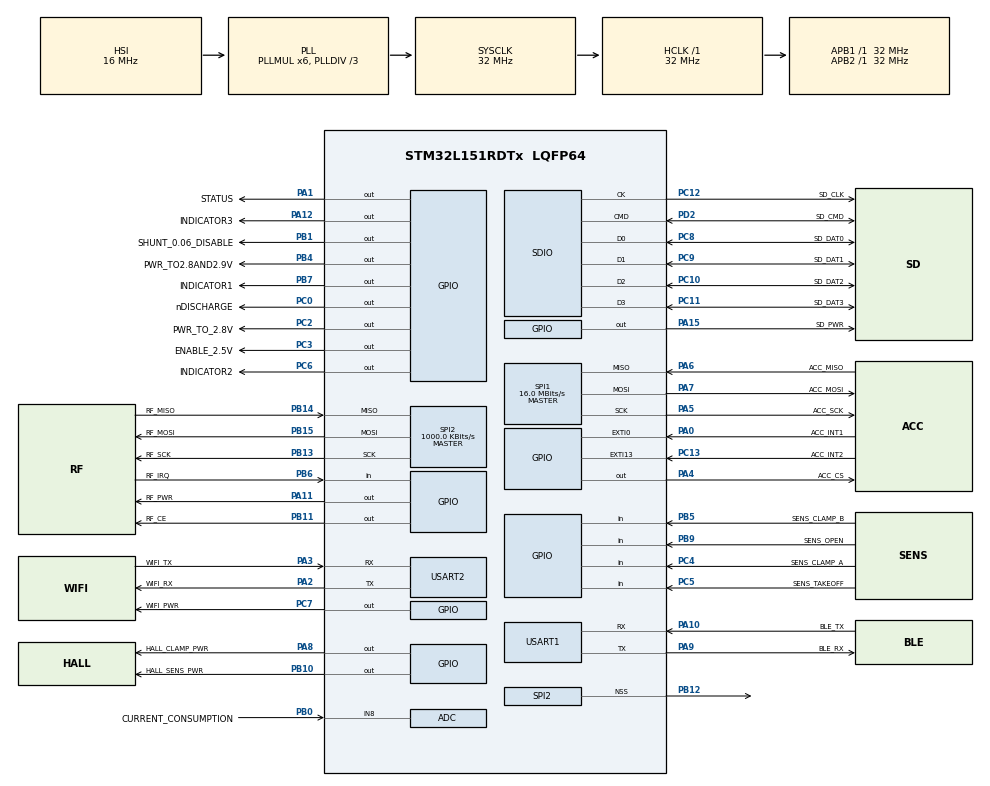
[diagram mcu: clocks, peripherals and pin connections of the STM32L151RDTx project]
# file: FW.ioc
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ADC.Channel-44\#ChannelRegularConversion=ADC_CHANNEL_TEMPSENSOR
ADC.ChannelsBank=ADC_CHANNELS_BANK_A
ADC.ClockPrescaler=ADC_CLOCK_ASYNC_DIV1
ADC.ContinuousConvMode=DISABLE
ADC.DMAContinuousRequests=DISABLE
ADC.DataAlign=ADC_DATAALIGN_RIGHT
ADC.DiscontinuousConvMode=DISABLE
ADC.EOCSelection=EOC_SEQ_CONV
ADC.EnableAnalogWatchDog=false
ADC.ExternalTrigConvEdge=ADC_EXTERNALTRIGCONVEDGE_NONE
ADC.InjNumberOfConversion=0
ADC.LowPowerAutoPowerOff=ADC_AUTOPOWEROFF_DISABLE
ADC.LowPowerAutoWait=ADC_AUTOWAIT_DISABLE
ADC.NbrOfConversion=1
ADC.NbrOfConversionFlag=1
ADC.Rank-44\#ChannelRegularConversion=1
ADC.Resolution=ADC_RESOLUTION12b
ADC.SamplingTime-44\#ChannelRegularConversion=ADC_SAMPLETIME_4CYCLES
ADC.ScanConvMode=ADC_SCAN_DISABLE
Mcu.Family=STM32L1
Mcu.Name=STM32L151RDTx
Mcu.Package=LQFP64
NVIC.ADC1_IRQn=true\:0\:0\:false
NVIC.PriorityGroup=NVIC_PRIORITYGROUP_4
NVIC.RTC_WKUP_IRQn=true\:1\:0\:true
NVIC.SDIO_IRQn=true\:0\:0\:false
NVIC.SPI1_IRQn=true\:0\:0\:false
NVIC.SPI2_IRQn=true\:0\:0\:false
NVIC.USART1_IRQn=true\:0\:0\:false
NVIC.USART2_IRQn=true\:0\:0\:false
PA0-WKUP1.GPIO_Label=ACC_INT1
PA0-WKUP1.GPIO_ModeDefaultEXTI=GPIO_MODE_IT_RISING_FALLING
PA0-WKUP1.Signal=GPXTI0
PA1.GPIO_Label=STATUS
PA1.GPIO_ModeDefaultOutputPP=GPIO_MODE_OUTPUT_PP
PA1.GPIO_Speed=GPIO_SPEED_VERY_LOW
PA1.Signal=GPIO_Output
PA10.GPIO_Label=BLE_TX
PA10.Mode=Asynchronous
PA10.Signal=USART1_RX
PA11.GPIO_Label=RF_PWR
PA11.GPIO_PuPd=GPIO_PULLUP
PA11.PinState=GPIO_PIN_SET
PA11.Signal=GPIO_Output
PA12.GPIO_Label=INDICATOR3
PA12.GPIO_ModeDefaultOutputPP=GPIO_MODE_OUTPUT_PP
PA12.Signal=GPIO_Output
PA13.Mode=Trace-Asynchronous_SW
PA13.Signal=SYS_JTMS-SWDIO
PA14.Mode=Trace-Asynchronous_SW
PA14.Signal=SYS_JTCK-SWCLK
PA15.GPIO_Label=SD_PWR
PA15.GPIO_PuPd=GPIO_PULLUP
PA15.PinState=GPIO_PIN_SET
PA15.Signal=GPIO_Output
PA2.GPIO_Label=WIFI_RX
PA2.Mode=Asynchronous
PA2.Signal=USART2_TX
PA3.GPIO_Label=WIFI_TX
PA3.Mode=Asynchronous
PA3.Signal=USART2_RX
PA4.GPIO_Label=ACC_CS
PA4.Signal=GPIO_Output
PA5.GPIO_Label=ACC_SCK
PA5.Mode=Full_Duplex_Master
PA5.Signal=SPI1_SCK
PA6.GPIO_Label=ACC_MISO
PA6.Mode=Full_Duplex_Master
PA6.Signal=SPI1_MISO
PA7.GPIO_Label=ACC_MOSI
PA7.Mode=Full_Duplex_Master
PA7.Signal=SPI1_MOSI
PA8.GPIO_Label=HALL_CLAMP_PWR
PA8.GPIO_ModeDefaultOutputPP=GPIO_MODE_OUTPUT_PP
PA8.GPIO_PuPd=GPIO_NOPULL
PA8.Signal=GPIO_Output
PA9.GPIO_Label=BLE_RX
PA9.Mode=Asynchronous
PA9.Signal=USART1_TX
PB0.GPIO_Label=CURRENT_CONSUMPTION
PB0.Mode=IN8
PB0.Signal=ADC_IN8
PB1.GPIO_Label=SHUNT_0.06_DISABLE
PB1.GPIO_PuPd=GPIO_PULLDOWN
PB1.Signal=GPIO_Output
PB10.GPIO_Label=HALL_SENS_PWR
PB10.GPIO_PuPd=GPIO_PULLUP
PB10.Signal=GPIO_Output
PB11.GPIO_Label=RF_CE
PB11.GPIO_PuPd=GPIO_PULLDOWN
PB11.Signal=GPIO_Output
PB12.GPIO_PuPd=GPIO_PULLUP
PB12.Mode=NSS_Signal_Hard_Output
PB12.Signal=SPI2_NSS
PB13.GPIO_Label=RF_SCK
PB13.Mode=Full_Duplex_Master
PB13.Signal=SPI2_SCK
PB14.GPIO_Label=RF_MISO
PB14.GPIO_PuPd=GPIO_PULLDOWN
PB14.Mode=Full_Duplex_Master
PB14.Signal=SPI2_MISO
PB15.GPIO_Label=RF_MOSI
PB15.Mode=Full_Duplex_Master
PB15.Signal=SPI2_MOSI
PB3.Mode=Trace-Asynchronous_SW
PB3.Signal=SYS_JTDO-TRACESWO
PB4.GPIO_Label=PWR_TO2.8AND2.9V
PB4.Signal=GPIO_Output
PB5.GPIO_Label=SENS_CLAMP_B
PB5.GPIO_PuPd=GPIO_PULLUP
PB5.Signal=GPIO_Input
PB6.GPIO_Label=RF_IRQ
PB6.GPIO_PuPd=GPIO_PULLUP
PB6.Signal=GPIO_Input
PB7.GPIO_Label=INDICATOR1
PB7.Signal=GPIO_Output
PB9.GPIO_Label=SENS_OPEN
PB9.GPIO_PuPd=GPIO_PULLUP
PB9.Signal=GPIO_Input
PC0.GPIO_Label=nDISCHARGE
PC0.GPIO_PuPd=GPIO_PULLUP
PC0.PinState=GPIO_PIN_SET
PC0.Signal=GPIO_Output
PC10.GPIO_Label=SD_DAT2
PC10.GPIO_PuPd=GPIO_PULLUP
PC10.Mode=SD_4_bits_Wide_bus
PC10.Signal=SDIO_D2
PC11.GPIO_Label=SD_DAT3
PC11.GPIO_PuPd=GPIO_NOPULL
PC11.Mode=SD_4_bits_Wide_bus
PC11.Signal=SDIO_D3
PC12.GPIO_Label=SD_CLK
PC12.Mode=SD_4_bits_Wide_bus
PC12.Signal=SDIO_CK
PC13-WKUP2.GPIO_Label=ACC_INT2
PC13-WKUP2.GPIO_ModeDefaultEXTI=GPIO_MODE_IT_RISING_FALLING
PC13-WKUP2.Signal=GPXTI13
PC14-OSC32_IN.Mode=LSE-External-Oscillator
PC14-OSC32_IN.Signal=RCC_OSC32_IN
PC15-OSC32_OUT.Mode=LSE-External-Oscillator
PC15-OSC32_OUT.Signal=RCC_OSC32_OUT
PC2.GPIO_Label=PWR_TO_2.8V
PC2.Signal=GPIO_Output
PC3.GPIO_Label=ENABLE_2.5V
PC3.Signal=GPIO_Output
PC4.GPIO_Label=SENS_CLAMP_A
PC4.GPIO_PuPd=GPIO_PULLUP
PC4.Signal=GPIO_Input
PC5.GPIO_Label=SENS_TAKEOFF
PC5.GPIO_PuPd=GPIO_PULLUP
PC5.Signal=GPIO_Input
PC6.GPIO_Label=INDICATOR2
PC6.Signal=GPIO_Output
PC7.GPIO_Label=WIFI_PWR
PC7.PinState=GPIO_PIN_SET
PC7.Signal=GPIO_Output
PC8.GPIO_Label=SD_DAT0
PC8.GPIO_PuPd=GPIO_PULLUP
PC8.Mode=SD_4_bits_Wide_bus
PC8.Signal=SDIO_D0
PC9.GPIO_Label=SD_DAT1
PC9.GPIO_PuPd=GPIO_PULLUP
PC9.Mode=SD_4_bits_Wide_bus
PC9.Signal=SDIO_D1
PD2.GPIO_Label=SD_CMD
PD2.GPIO_PuPd=GPIO_PULLUP
PD2.Mode=SD_4_bits_Wide_bus
PD2.Signal=SDIO_CMD
ProjectManager.HeapSize=0x800
ProjectManager.StackSize=0x400
ProjectManager.TargetToolchain=MDK-ARM V5
RCC.AHBFreq_Value=32000000
RCC.APB1Freq_Value=32000000
RCC.APB1TimFreq_Value=32000000
RCC.APB2Freq_Value=32000000
RCC.APB2TimFreq_Value=32000000
RCC.HCLKFreq_Value=32000000
RCC.HSE_VALUE=24000000
RCC.HSI_VALUE=16000000
RCC.MSIClockRange=RCC_MSIRANGE_0
RCC.MSI_VALUE=65536
RCC.PLLDIV=RCC_PLL_DIV3
RCC.PLLMUL=RCC_PLL_MUL6
RCC.RTCClockSelection=RCC_RTCCLKSOURCE_LSE
RCC.RTCClockSelectionVirtual=RCC_RTCCLKSOURCE_LSE
RCC.SYSCLKFreq_VALUE=32000000
RCC.SYSCLKSource=RCC_SYSCLKSOURCE_PLLCLK
RCC.USBOutput=48000000
RCC.VCOOutputFreq_Value=96000000
RCC.VDD_VALUE=2.7
RTC.Date=12
RTC.Month=RTC_MONTH_MARCH
RTC.WakeUpClock=RTC_WAKEUPCLOCK_CK_SPRE_16BITS
RTC.WakeUpCounter=1
RTC.WeekDay=RTC_WEEKDAY_SUNDAY
RTC.Year=16
SDIO.BusWide=SDIO_BUS_WIDE_1B
SDIO.ClockDiv=20
SDIO.WideMode=SDIO_BUS_WIDE_4B
SPI1.BaudRatePrescaler=SPI_BAUDRATEPRESCALER_2
SPI1.CalculateBaudRate=16.0 MBits/s
SPI1.Mode=SPI_MODE_MASTER
SPI2.BaudRatePrescaler=SPI_BAUDRATEPRESCALER_32
SPI2.CalculateBaudRate=1000.0 KBits/s
SPI2.Mode=SPI_MODE_MASTER
SPI2.VirtualNSS=VM_NSSHARD
VP_ADC_Channel8SpeedLow.Mode=Channel8SpeedLow
VP_ADC_TempSens_Input.Mode=IN-TempSens
VP_FATFS_VS_SDIO.Mode=SDIO
VP_RTC_VS_RTC_WakeUp_intern.Mode=WakeUp
board=FW

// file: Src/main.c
/**
  ******************************************************************************
  * File Name          : main.c
  * Description        : Main program body
  ******************************************************************************
  *
  * COPYRIGHT(c) 2016 STMicroelectronics
  *
  * Redistribution and use in source and binary forms, with or without modification,
  * are permitted provided that the following conditions are met:
  *   1. Redistributions of source code must retain the above copyright notice,
  *      this list of conditions and the following disclaimer.
  *   2. Redistributions in binary form must reproduce the above copyright notice,
  *      this list of conditions and the following disclaimer in the documentation
  *      and/or other materials provided with the distribution.
  *   3. Neither the name of STMicroelectronics nor the names of its contributors
  *      may be used to endorse or promote products derived from this software
  *      without specific prior written permission.
  *
  * THIS SOFTWARE IS PROVIDED BY THE COPYRIGHT HOLDERS AND CONTRIBUTORS "AS IS"
  * AND ANY EXPRESS OR IMPLIED WARRANTIES, INCLUDING, BUT NOT LIMITED TO, THE
  * IMPLIED WARRANTIES OF MERCHANTABILITY AND FITNESS FOR A PARTICULAR PURPOSE ARE
  * DISCLAIMED. IN NO EVENT SHALL THE COPYRIGHT HOLDER OR CONTRIBUTORS BE LIABLE
  * FOR ANY DIRECT, INDIRECT, INCIDENTAL, SPECIAL, EXEMPLARY, OR CONSEQUENTIAL
  * DAMAGES (INCLUDING, BUT NOT LIMITED TO, PROCUREMENT OF SUBSTITUTE GOODS OR
  * SERVICES; LOSS OF USE, DATA, OR PROFITS; OR BUSINESS INTERRUPTION) HOWEVER
  * CAUSED AND ON ANY THEORY OF LIABILITY, WHETHER IN CONTRACT, STRICT LIABILITY,
  * OR TORT (INCLUDING NEGLIGENCE OR OTHERWISE) ARISING IN ANY WAY OUT OF THE USE
  * OF THIS SOFTWARE, EVEN IF ADVISED OF THE POSSIBILITY OF SUCH DAMAGE.
  *
  ******************************************************************************
  */
#include "stm32l1xx_hal.h"
#include "fatfs.h"

/* USER CODE BEGIN Includes */
#include <stdio.h>
#include "lis3dh_driver.h"
#include "power.h"
#include "defines.h"

/* USER CODE END Includes */

ADC_HandleTypeDef hadc;

RTC_HandleTypeDef hrtc;

SD_HandleTypeDef hsd;
HAL_SD_CardInfoTypedef SDCardInfo;

SPI_HandleTypeDef hspi1;
SPI_HandleTypeDef hspi2;

UART_HandleTypeDef huart1;
UART_HandleTypeDef huart2;

/* USER CODE BEGIN PV */
/* Private variables ---------------------------------------------------------*/
FATFS SDFatFs;  /* File system object for SD card logical drive */
FIL MyFile;     /* File object */
char SDPath[4]; /* SD card logical drive path */

const char wtext[] = "Hello World!";

uint8_t resp;

/* Size of buffer */
#define BUFFERSIZE                       (COUNTOF(aTxBuffer) - 1)

/* Exported macro ------------------------------------------------------------*/
#define COUNTOF(__BUFFER__)   (sizeof(__BUFFER__) / sizeof(*(__BUFFER__)))

/* Exported functions ------------------------------------------------------- */

/* USER CODE END PV */

void SystemClock_Config(void);
static void MX_GPIO_Init(void);
static void MX_ADC_Init(void);
static void MX_SDIO_SD_Init(void);
static void MX_SPI1_Init(void);
static void MX_SPI2_Init(void);
static void MX_USART1_UART_Init(void);
static void MX_USART2_UART_Init(void);
static void MX_RTC_Init(void);

/* USER CODE BEGIN PFP */
/* Private function prototypes -----------------------------------------------*/

/*int fputc(int ch, FILE *f){
  HAL_UART_Transmit(&huart1, (uint8_t *)&ch, 1, 0xFFFF);

  return ch;
}*/

// FOR DEBUG send to  KEIL
#define ITM_Port8(n)    (*((volatile unsigned char *)(0xE0000000+4*n)))
#define ITM_Port16(n)   (*((volatile unsigned short*)(0xE0000000+4*n)))
#define ITM_Port32(n)   (*((volatile unsigned long *)(0xE0000000+4*n)))
#define DEMCR           (*((volatile unsigned long *)(0xE000EDFC)))
#define TRCENA          0x01000000

struct __FILE { int handle; /* Add whatever you need here */ };
FILE __stdout;
FILE __stdin;

int fputc(int ch, FILE *f) {
   if (DEMCR & TRCENA) {

while (ITM_Port32(0) == 0);
    ITM_Port8(0) = ch;
  }
  return(ch);
}

/* USER CODE END PFP */

int main(void)
{

  /* USER CODE BEGIN 1 */

//  AxesRaw_t data;

	FRESULT res; /* FatFs function common result code */
	uint32_t byteswritten, bytesread; /* File write/read counts */
	char rtext[256]; /* File read buffer */

	//	HALL_SENS_PWR_ON;
	//	CLAMP_SENS_PWR_ON;

	//	1. SPI1 is for ACC

  /* USER CODE END 1 */

  /* MCU Configuration----------------------------------------------------------*/

  /* Reset of all peripherals, Initializes the Flash interface and the Systick. */
  HAL_Init();

  /* Configure the system clock */
  SystemClock_Config();

  /* Initialize all configured peripherals */
  MX_GPIO_Init();
  MX_ADC_Init();
  MX_SDIO_SD_Init();
  MX_SPI1_Init();
  MX_SPI2_Init();
  MX_USART1_UART_Init();
  MX_USART2_UART_Init();
  MX_FATFS_Init();
  MX_RTC_Init();

  /* USER CODE BEGIN 2 */
	HAL_RTCEx_DeactivateWakeUpTimer(&hrtc);
	HAL_RTCEx_SetWakeUpTimer_IT(&hrtc, 1, RTC_WAKEUPCLOCK_CK_SPRE_16BITS);

  EXTI0_IRQHandler_Config();
//	EXTI13_IRQHandler_Config();

//	HAL_DBGMCU_EnableDBGStopMode();

	//HALL_SENS_PWR_ON;
	//CLAMP_SENS_PWR_OFF;

	// init gpio before!
	UC_2_8V;

	printf("FW start\r\n");

	LIS3DH_PreInit();
	LIS3DH_SetMode(LIS3DH_NORMAL); 				//reg1
	LIS3DH_SetODR(LIS3DH_ODR_400Hz); 			//reg1
	LIS3DH_SetAxis(LIS3DH_X_ENABLE | LIS3DH_Y_ENABLE | LIS3DH_Z_ENABLE ); //reg1

	//Direct IRQ from watemark and overrun to 1st pin. reg3
	LIS3DH_SetInt1Pin(LIS3DH_CLICK_ON_PIN_INT1_DISABLE 		| 	LIS3DH_I1_INT1_ON_PIN_INT1_DISABLE 	| 	LIS3DH_I1_INT2_ON_PIN_INT1_DISABLE 	|
										LIS3DH_I1_DRDY1_ON_INT1_DISABLE			| 	LIS3DH_I1_DRDY2_ON_INT1_DISABLE 		| 	LIS3DH_WTM_ON_INT1_ENABLE 					| LIS3DH_INT1_OVERRUN_DISABLE);

	//REG4
	LIS3DH_SetBDU(MEMS_ENABLE);
  LIS3DH_SetFullScale(LIS3DH_FULLSCALE_2);  //reg4

	//REG5
  LIS3DH_FIFOModeEnable(LIS3DH_FIFO_STREAM_MODE);	//Enable store into FIFO reg5
	LIS3DH_Int1LatchEnable(MEMS_ENABLE);

	//LIS3DH_FIFO_CTRL_REG
	LIS3DH_SetTriggerInt(LIS3DH_TRIG_INT1);
	LIS3DH_SetWaterMark(15); 									// watermark for irq generation from fifo  LIS3DH_FIFO_CTRL_REG

	LIS3DH_ReadFIFO();												// clean FIFO and reset IRQ

while (1) {
	//LIS3DH_GetInt1Src(&resp);
	//printf("INT1SRC %i ", resp);

	/*LIS3DH_GetFifoSourceBit(LIS3DH_FIFO_SRC_WTM, &resp);
	printf("WTM %i ", resp);

	LIS3DH_GetReg3Bit(LIS3DH_I1_WTM, &resp);
	printf("WMBIT %i ", resp);

	LIS3DH_GetFifoSourceFSS(&resp);
	printf("FIFO %i\r\n", resp);

	//LIS3DH_GetIntCounter(&resp);
	//printf("Interrupts counter=%i\r\n", resp);
	if (resp > 26) {

		//rep:
			//LIS3DH_GetFifoSourceFSS(&resp);
			//printf("> %i recs in FIFO (while)\r\n", resp);
			//HAL_Delay(15);
		//LIS3DH_GetInt1Src(&resp);
/*		rep:
		if(LIS3DH_GetAccAxesRaw(&data)==1){
				LIS3DH_GetFifoSourceBit(LIS3DH_FIFO_SRC_WTM, &resp);
				//printf("X=%6d Y=%6d Z=%6d \r\n", data.AXIS_X, data.AXIS_Y, data.AXIS_Z);
			printf("  READ WTM%i\r\n", resp);
		} else {
				printf("ER\r\n");
		}

		LIS3DH_GetFifoSourceFSS(&resp);
		if (resp > 0) goto rep;

		LIS3DH_ResetInt1Latch();

		LIS3DH_FIFOModeEnable(LIS3DH_FIFO_STREAM_MODE);*/

			LIS3DH_ReadFIFO();
	HAL_Delay(2000);
}
//ENABLE ALL IRQs
//LIS3DH_SetInt1Pin(LIS3DH_CLICK_ON_PIN_INT1_DISABLE | LIS3DH_I1_INT1_ON_PIN_INT1_ENABLE | LIS3DH_I1_INT2_ON_PIN_INT1_ENABLE | LIS3DH_I1_DRDY1_ON_INT1_ENABLE | LIS3DH_I1_DRDY2_ON_INT1_ENABLE | LIS3DH_WTM_ON_INT1_ENABLE | LIS3DH_INT1_OVERRUN_ENABLE);
//LIS3DH_SetInt2Pin(LIS3DH_CLICK_ON_PIN_INT2_DISABLE | LIS3DH_I2_INT1_ON_PIN_INT2_ENABLE | LIS3DH_I2_INT2_ON_PIN_INT2_ENABLE | LIS3DH_I2_BOOT_ON_INT2_ENABLE | LIS3DH_INT_ACTIVE_HIGH);
//	HAL_Delay(2000);

  /* USER CODE END 2 */

  /* Infinite loop */
  /* USER CODE BEGIN WHILE */
  while (1)  {
  /* USER CODE END WHILE */

  /* USER CODE BEGIN 3 */

//		if(LIS3DH_GetAccAxesRaw(&data)==1){
//			printf("X=%6d Y=%6d Z=%6d \r\n", data.AXIS_X, data.AXIS_Y, data.AXIS_Z);
//		} else {
//			printf("ER\r\n");
//		}
		HAL_Delay(50);

		//	lowest_power();		//go to stop. Wakeup on RTC wakeup or 1st or 2d PIN wakeup
  }

//SDIO FAT PART.

	//ENABLE_2_5V;	//DC-DC enable
	SD_PWR_ON;		//Power to SD card
	//INIT SD and CARD after because no power to sd

	HAL_Delay(50);
  MX_SDIO_SD_Init();
  MX_FATFS_Init();

/*##-1- FatFS: Link the SD disk I/O driver ##########*/

 if(FATFS_LinkDriver(&SD_Driver, SDPath) == 0){
		/* success: set the orange LED on */
		 //HAL_GPIO_WritePin(GPIOG, GPIO_PIN_7, GPIO_PIN_RESET);
		/*##-2- Register the file system object to the FatFs module

		NB! mout right now!
	 ###*/
		res = f_mount(&SDFatFs, (TCHAR const*)SD_Path, 1) ;

		 if(res != FR_OK){
				 /* FatFs Initialization Error : set the red LED on */
				 printf ("Problem fmount\r\n");
				 while(1);
		 } else {
				/*##-3- Create a FAT file system (format) on the logical drive#*/
				 /* WARNING: Formatting the uSD card will delete all content on the device */
					res = f_mkfs((TCHAR const*)SD_Path, 0, 0);
					if(res != FR_OK){
						 /* FatFs Format Error : set the red LED on */
							printf ("Problem f_mkfs\r\n");
						 while(1);
					} else {
						/*##-4- Create & Open a new text file object with write access#*/
						 if(f_open(&MyFile, "Hello.txt", FA_CREATE_ALWAYS | FA_WRITE) != FR_OK){
								 /* 'Hello.txt' file Open for write Error : set the red LED on */
								 printf ("Problem f_open\r\n");
								 while(1);
						 } else {
								 /*##-5- Write data to the text file ####################*/
								 res = f_write(&MyFile, wtext, sizeof(wtext), (void*)&byteswritten);

								 if((byteswritten == 0) || (res != FR_OK)){
										 /* 'Hello.txt' file Write or EOF Error : set the red LED on */
										 printf ("Problem f_write\r\n");
										 while(1);
								 } else {

										 /*##-6- Successful open/write : set the blue LED on */
										// HAL_GPIO_WritePin(GPIOG, GPIO_PIN_12, GPIO_PIN_RESET);
										 f_close(&MyFile);

										 /*##-7- Open the text file object with read access #*/
										 if(f_open(&MyFile, "Hello.txt", FA_READ) != FR_OK){
												 /* 'Hello.txt' file Open for read Error : set the red LED on */
												//HAL_GPIO_WritePin(GPIOG, GPIO_PIN_10, GPIO_PIN_RESET);
													printf ("Problem f_open\r\n");
												 while(1);
										 } else {
												 /*##-8- Read data from the text file #########*/
												 res = f_read(&MyFile, rtext, sizeof(wtext), &bytesread);
//												 if((strcmp(rtext,wtext)!=0)|| (res != FR_OK)){
//													 /* 'Hello.txt' file Read or EOF Error : set the red LED on */
//													 				 printf ("Problem f_read\r\n");
//													 while(1);
//												 } else {
//													 printf ("FAT operation done OK!\r\n");
													 /* Successful read : set the green LED On */
													 //HAL_GPIO_WritePin(GPIOG, GPIO_PIN_6, GPIO_PIN_RESET);
													 /*##-9- Close the open text file ################*/
													 f_close(&MyFile);
												 }
										 }
								 }
						 }
				 }
		 }

 /*##-10- Unlink the micro SD disk I/O driver #########*/
 FATFS_UnLinkDriver(SD_Path);

  /* USER CODE END 3 */

}

/** System Clock Configuration
*/
void SystemClock_Config(void)
{

  RCC_OscInitTypeDef RCC_OscInitStruct;
  RCC_ClkInitTypeDef RCC_ClkInitStruct;
  RCC_PeriphCLKInitTypeDef PeriphClkInit;

  __PWR_CLK_ENABLE();

  __HAL_PWR_VOLTAGESCALING_CONFIG(PWR_REGULATOR_VOLTAGE_SCALE1);

  RCC_OscInitStruct.OscillatorType = RCC_OSCILLATORTYPE_HSI|RCC_OSCILLATORTYPE_LSE;
  RCC_OscInitStruct.LSEState = RCC_LSE_ON;
  RCC_OscInitStruct.HSIState = RCC_HSI_ON;
  RCC_OscInitStruct.HSICalibrationValue = 16;
  RCC_OscInitStruct.PLL.PLLState = RCC_PLL_ON;
  RCC_OscInitStruct.PLL.PLLSource = RCC_PLLSOURCE_HSI;
  RCC_OscInitStruct.PLL.PLLMUL = RCC_PLL_MUL6;
  RCC_OscInitStruct.PLL.PLLDIV = RCC_PLL_DIV3;
  HAL_RCC_OscConfig(&RCC_OscInitStruct);

  RCC_ClkInitStruct.ClockType = RCC_CLOCKTYPE_HCLK|RCC_CLOCKTYPE_SYSCLK
                              |RCC_CLOCKTYPE_PCLK1|RCC_CLOCKTYPE_PCLK2;
  RCC_ClkInitStruct.SYSCLKSource = RCC_SYSCLKSOURCE_PLLCLK;
  RCC_ClkInitStruct.AHBCLKDivider = RCC_SYSCLK_DIV1;
  RCC_ClkInitStruct.APB1CLKDivider = RCC_HCLK_DIV1;
  RCC_ClkInitStruct.APB2CLKDivider = RCC_HCLK_DIV1;
  HAL_RCC_ClockConfig(&RCC_ClkInitStruct, FLASH_LATENCY_1);

  PeriphClkInit.PeriphClockSelection = RCC_PERIPHCLK_RTC;
  PeriphClkInit.RTCClockSelection = RCC_RTCCLKSOURCE_LSE;
  HAL_RCCEx_PeriphCLKConfig(&PeriphClkInit);

  HAL_SYSTICK_Config(HAL_RCC_GetHCLKFreq()/1000);

  HAL_SYSTICK_CLKSourceConfig(SYSTICK_CLKSOURCE_HCLK);

  /* SysTick_IRQn interrupt configuration */
  HAL_NVIC_SetPriority(SysTick_IRQn, 0, 0);
}

/* ADC init function */
void MX_ADC_Init(void)
{

  ADC_ChannelConfTypeDef sConfig;

    /**Configure the global features of the ADC (Clock, Resolution, Data Alignment and number of conversion)
    */
  hadc.Instance = ADC1;
  hadc.Init.ClockPrescaler = ADC_CLOCK_ASYNC_DIV1;
  hadc.Init.Resolution = ADC_RESOLUTION12b;
  hadc.Init.DataAlign = ADC_DATAALIGN_RIGHT;
  hadc.Init.ScanConvMode = ADC_SCAN_DISABLE;
  hadc.Init.EOCSelection = EOC_SEQ_CONV;
  hadc.Init.LowPowerAutoWait = ADC_AUTOWAIT_DISABLE;
  hadc.Init.LowPowerAutoPowerOff = ADC_AUTOPOWEROFF_DISABLE;
  hadc.Init.ChannelsBank = ADC_CHANNELS_BANK_A;
  hadc.Init.ContinuousConvMode = DISABLE;
  hadc.Init.NbrOfConversion = 1;
  hadc.Init.DiscontinuousConvMode = DISABLE;
  hadc.Init.ExternalTrigConv = ADC_SOFTWARE_START;
  hadc.Init.ExternalTrigConvEdge = ADC_EXTERNALTRIGCONVEDGE_NONE;
  hadc.Init.DMAContinuousRequests = DISABLE;
  HAL_ADC_Init(&hadc);

    /**Configure the channel speed in Low mode
    */
  __HAL_ADC_CHANNEL_SPEED_SLOW(ADC_CHANNEL_8);

    /**Configure for the selected ADC regular channel its corresponding rank in the sequencer and its sample time.
    */
  sConfig.Channel = ADC_CHANNEL_TEMPSENSOR;
  sConfig.Rank = 1;
  sConfig.SamplingTime = ADC_SAMPLETIME_4CYCLES;
  HAL_ADC_ConfigChannel(&hadc, &sConfig);

}

/* RTC init function */
void MX_RTC_Init(void)
{

  RTC_TimeTypeDef sTime;
  RTC_DateTypeDef sDate;

    /**Initialize RTC and set the Time and Date
    */
  hrtc.Instance = RTC;
  hrtc.Init.HourFormat = RTC_HOURFORMAT_24;
  hrtc.Init.AsynchPrediv = 127;
  hrtc.Init.SynchPrediv = 255;
  hrtc.Init.OutPut = RTC_OUTPUT_DISABLE;
  hrtc.Init.OutPutPolarity = RTC_OUTPUT_POLARITY_HIGH;
  hrtc.Init.OutPutType = RTC_OUTPUT_TYPE_OPENDRAIN;
  HAL_RTC_Init(&hrtc);

  sTime.Hours = 0x0;
  sTime.Minutes = 0x0;
  sTime.Seconds = 0x0;
  sTime.DayLightSaving = RTC_DAYLIGHTSAVING_NONE;
  sTime.StoreOperation = RTC_STOREOPERATION_RESET;
  HAL_RTC_SetTime(&hrtc, &sTime, FORMAT_BCD);

  sDate.WeekDay = RTC_WEEKDAY_SUNDAY;
  sDate.Month = RTC_MONTH_MARCH;
  sDate.Date = 0x12;
  sDate.Year = 0x16;

  HAL_RTC_SetDate(&hrtc, &sDate, FORMAT_BCD);

    /**Enable the WakeUp
    */
  HAL_RTCEx_SetWakeUpTimer_IT(&hrtc, 1, RTC_WAKEUPCLOCK_CK_SPRE_16BITS);

}

/* SDIO init function */
void MX_SDIO_SD_Init(void)
{

  hsd.Instance = SDIO;
  hsd.Init.ClockEdge = SDIO_CLOCK_EDGE_RISING;
  hsd.Init.ClockBypass = SDIO_CLOCK_BYPASS_DISABLE;
  hsd.Init.ClockPowerSave = SDIO_CLOCK_POWER_SAVE_DISABLE;
  hsd.Init.BusWide = SDIO_BUS_WIDE_1B;
  hsd.Init.HardwareFlowControl = SDIO_HARDWARE_FLOW_CONTROL_DISABLE;
  hsd.Init.ClockDiv = 20;

}

/* SPI1 init function */
void MX_SPI1_Init(void)
{

  hspi1.Instance = SPI1;
  hspi1.Init.Mode = SPI_MODE_MASTER;
  hspi1.Init.Direction = SPI_DIRECTION_2LINES;
  hspi1.Init.DataSize = SPI_DATASIZE_8BIT;
  hspi1.Init.CLKPolarity = SPI_POLARITY_LOW;
  hspi1.Init.CLKPhase = SPI_PHASE_1EDGE;
  hspi1.Init.NSS = SPI_NSS_SOFT;
  hspi1.Init.BaudRatePrescaler = SPI_BAUDRATEPRESCALER_2;
  hspi1.Init.FirstBit = SPI_FIRSTBIT_MSB;
  hspi1.Init.TIMode = SPI_TIMODE_DISABLED;
  hspi1.Init.CRCCalculation = SPI_CRCCALCULATION_DISABLED;
  hspi1.Init.CRCPolynomial = 10;
  HAL_SPI_Init(&hspi1);

}

/* SPI2 init function */
void MX_SPI2_Init(void)
{

  hspi2.Instance = SPI2;
  hspi2.Init.Mode = SPI_MODE_MASTER;
  hspi2.Init.Direction = SPI_DIRECTION_2LINES;
  hspi2.Init.DataSize = SPI_DATASIZE_8BIT;
  hspi2.Init.CLKPolarity = SPI_POLARITY_LOW;
  hspi2.Init.CLKPhase = SPI_PHASE_1EDGE;
  hspi2.Init.NSS = SPI_NSS_HARD_OUTPUT;
  hspi2.Init.BaudRatePrescaler = SPI_BAUDRATEPRESCALER_32;
  hspi2.Init.FirstBit = SPI_FIRSTBIT_MSB;
  hspi2.Init.TIMode = SPI_TIMODE_DISABLED;
  hspi2.Init.CRCCalculation = SPI_CRCCALCULATION_DISABLED;
  hspi2.Init.CRCPolynomial = 10;
  HAL_SPI_Init(&hspi2);

}

/* USART1 init function */
void MX_USART1_UART_Init(void)
{

  huart1.Instance = USART1;
  huart1.Init.BaudRate = 115200;
  huart1.Init.WordLength = UART_WORDLENGTH_8B;
  huart1.Init.StopBits = UART_STOPBITS_1;
  huart1.Init.Parity = UART_PARITY_NONE;
  huart1.Init.Mode = UART_MODE_TX_RX;
  huart1.Init.HwFlowCtl = UART_HWCONTROL_NONE;
  huart1.Init.OverSampling = UART_OVERSAMPLING_16;
  HAL_UART_Init(&huart1);

}

/* USART2 init function */
void MX_USART2_UART_Init(void)
{

  huart2.Instance = USART2;
  huart2.Init.BaudRate = 115200;
  huart2.Init.WordLength = UART_WORDLENGTH_8B;
  huart2.Init.StopBits = UART_STOPBITS_1;
  huart2.Init.Parity = UART_PARITY_NONE;
  huart2.Init.Mode = UART_MODE_TX_RX;
  huart2.Init.HwFlowCtl = UART_HWCONTROL_NONE;
  huart2.Init.OverSampling = UART_OVERSAMPLING_16;
  HAL_UART_Init(&huart2);

}

/** Configure pins as
        * Analog
        * Input
        * Output
        * EVENT_OUT
        * EXTI
*/
void MX_GPIO_Init(void)
{

  GPIO_InitTypeDef GPIO_InitStruct;

  /* GPIO Ports Clock Enable */
  __GPIOC_CLK_ENABLE();
  __GPIOA_CLK_ENABLE();
  __GPIOB_CLK_ENABLE();
  __GPIOD_CLK_ENABLE();

  /*Configure GPIO pin : ACC_INT2_Pin */
  GPIO_InitStruct.Pin = ACC_INT2_Pin;
  GPIO_InitStruct.Mode = GPIO_MODE_IT_RISING_FALLING;
  GPIO_InitStruct.Pull = GPIO_NOPULL;
  HAL_GPIO_Init(ACC_INT2_GPIO_Port, &GPIO_InitStruct);

  /*Configure GPIO pin : nDISCHARGE_Pin */
  GPIO_InitStruct.Pin = nDISCHARGE_Pin;
  GPIO_InitStruct.Mode = GPIO_MODE_OUTPUT_PP;
  GPIO_InitStruct.Pull = GPIO_PULLUP;
  GPIO_InitStruct.Speed = GPIO_SPEED_VERY_LOW;
  HAL_GPIO_Init(nDISCHARGE_GPIO_Port, &GPIO_InitStruct);

  /*Configure GPIO pins : PWR_TO_2_8V_Pin ENABLE_2_5V_Pin INDICATOR2_Pin WIFI_PWR_Pin */
  GPIO_InitStruct.Pin = PWR_TO_2_8V_Pin|ENABLE_2_5V_Pin|INDICATOR2_Pin|WIFI_PWR_Pin;
  GPIO_InitStruct.Mode = GPIO_MODE_OUTPUT_PP;
  GPIO_InitStruct.Pull = GPIO_NOPULL;
  GPIO_InitStruct.Speed = GPIO_SPEED_VERY_LOW;
  HAL_GPIO_Init(GPIOC, &GPIO_InitStruct);

  /*Configure GPIO pin : ACC_INT1_Pin */
  GPIO_InitStruct.Pin = ACC_INT1_Pin;
  GPIO_InitStruct.Mode = GPIO_MODE_IT_RISING_FALLING;
  GPIO_InitStruct.Pull = GPIO_NOPULL;
  HAL_GPIO_Init(ACC_INT1_GPIO_Port, &GPIO_InitStruct);

  /*Configure GPIO pins : STATUS_Pin ACC_CS_Pin HALL_CLAMP_PWR_Pin INDICATOR3_Pin */
  GPIO_InitStruct.Pin = STATUS_Pin|ACC_CS_Pin|HALL_CLAMP_PWR_Pin|INDICATOR3_Pin;
  GPIO_InitStruct.Mode = GPIO_MODE_OUTPUT_PP;
  GPIO_InitStruct.Pull = GPIO_NOPULL;
  GPIO_InitStruct.Speed = GPIO_SPEED_VERY_LOW;
  HAL_GPIO_Init(GPIOA, &GPIO_InitStruct);

  /*Configure GPIO pins : SENS_CLAMP_A_Pin SENS_TAKEOFF_Pin */
  GPIO_InitStruct.Pin = SENS_CLAMP_A_Pin|SENS_TAKEOFF_Pin;
  GPIO_InitStruct.Mode = GPIO_MODE_INPUT;
  GPIO_InitStruct.Pull = GPIO_PULLUP;
  HAL_GPIO_Init(GPIOC, &GPIO_InitStruct);

  /*Configure GPIO pins : SHUNT_0_06_DISABLE_Pin RF_CE_Pin */
  GPIO_InitStruct.Pin = SHUNT_0_06_DISABLE_Pin|RF_CE_Pin;
  GPIO_InitStruct.Mode = GPIO_MODE_OUTPUT_PP;
  GPIO_InitStruct.Pull = GPIO_PULLDOWN;
  GPIO_InitStruct.Speed = GPIO_SPEED_VERY_LOW;
  HAL_GPIO_Init(GPIOB, &GPIO_InitStruct);

  /*Configure GPIO pin : HALL_SENS_PWR_Pin */
  GPIO_InitStruct.Pin = HALL_SENS_PWR_Pin;
  GPIO_InitStruct.Mode = GPIO_MODE_OUTPUT_PP;
  GPIO_InitStruct.Pull = GPIO_PULLUP;
  GPIO_InitStruct.Speed = GPIO_SPEED_VERY_LOW;
  HAL_GPIO_Init(HALL_SENS_PWR_GPIO_Port, &GPIO_InitStruct);

  /*Configure GPIO pins : RF_PWR_Pin SD_PWR_Pin */
  GPIO_InitStruct.Pin = RF_PWR_Pin|SD_PWR_Pin;
  GPIO_InitStruct.Mode = GPIO_MODE_OUTPUT_PP;
  GPIO_InitStruct.Pull = GPIO_PULLUP;
  GPIO_InitStruct.Speed = GPIO_SPEED_VERY_LOW;
  HAL_GPIO_Init(GPIOA, &GPIO_InitStruct);

  /*Configure GPIO pins : PWR_TO2_8AND2_9V_Pin INDICATOR1_Pin */
  GPIO_InitStruct.Pin = PWR_TO2_8AND2_9V_Pin|INDICATOR1_Pin;
  GPIO_InitStruct.Mode = GPIO_MODE_OUTPUT_PP;
  GPIO_InitStruct.Pull = GPIO_NOPULL;
  GPIO_InitStruct.Speed = GPIO_SPEED_VERY_LOW;
  HAL_GPIO_Init(GPIOB, &GPIO_InitStruct);

  /*Configure GPIO pins : SENS_CLAMP_B_Pin RF_IRQ_Pin SENS_OPEN_Pin */
  GPIO_InitStruct.Pin = SENS_CLAMP_B_Pin|RF_IRQ_Pin|SENS_OPEN_Pin;
  GPIO_InitStruct.Mode = GPIO_MODE_INPUT;
  GPIO_InitStruct.Pull = GPIO_PULLUP;
  HAL_GPIO_Init(GPIOB, &GPIO_InitStruct);

  /*Configure GPIO pin Output Level */
  HAL_GPIO_WritePin(GPIOC, nDISCHARGE_Pin|WIFI_PWR_Pin, GPIO_PIN_SET);

  /*Configure GPIO pin Output Level */
  HAL_GPIO_WritePin(GPIOC, PWR_TO_2_8V_Pin|ENABLE_2_5V_Pin|INDICATOR2_Pin, GPIO_PIN_RESET);

  /*Configure GPIO pin Output Level */
  HAL_GPIO_WritePin(GPIOA, STATUS_Pin|ACC_CS_Pin|HALL_CLAMP_PWR_Pin|INDICATOR3_Pin, GPIO_PIN_RESET);

  /*Configure GPIO pin Output Level */
  HAL_GPIO_WritePin(GPIOB, SHUNT_0_06_DISABLE_Pin|HALL_SENS_PWR_Pin|RF_CE_Pin|PWR_TO2_8AND2_9V_Pin
                          |INDICATOR1_Pin, GPIO_PIN_RESET);

  /*Configure GPIO pin Output Level */
  HAL_GPIO_WritePin(GPIOA, RF_PWR_Pin|SD_PWR_Pin, GPIO_PIN_SET);

}

/* USER CODE BEGIN 4 */
static void EXTI0_IRQHandler_Config(void)
{
  GPIO_InitTypeDef   GPIO_InitStructure;

  /* Enable GPIOA clock */
  __HAL_RCC_GPIOA_CLK_ENABLE();

  /* Configure PA.0 pin as input floating */
  GPIO_InitStructure.Mode = GPIO_MODE_IT_RISING_FALLING; //GPIO_MODE_IT_RISING;
  GPIO_InitStructure.Pull = GPIO_NOPULL;
  GPIO_InitStructure.Pin = GPIO_PIN_0;
  HAL_GPIO_Init(GPIOA, &GPIO_InitStructure);

  /* Enable and set EXTI lines 15 to 10 Interrupt to the lowest priority */
  HAL_NVIC_SetPriority(EXTI0_IRQn , 1, 0);
  HAL_NVIC_EnableIRQ(EXTI0_IRQn );
}

/*static void EXTI13_IRQHandler_Config(void)
{
  GPIO_InitTypeDef   GPIO_InitStructure;

  __HAL_RCC_GPIOC_CLK_ENABLE();

  // Configure PA.0 pin as input floating
  GPIO_InitStructure.Mode = GPIO_MODE_IT_RISING_FALLING;
  GPIO_InitStructure.Pull = GPIO_NOPULL;
  GPIO_InitStructure.Pin = GPIO_PIN_13;
  HAL_GPIO_Init(GPIOA, &GPIO_InitStructure);

  // Enable and set EXTI lines 15 to 10 Interrupt to the lowest priority
  HAL_NVIC_SetPriority(EXTI15_10_IRQn , 2, 0);
  HAL_NVIC_EnableIRQ(EXTI15_10_IRQn);
}*/

/**
  * @brief EXTI line detection callbacks
  * @param GPIO_Pin: Specifies the pins connected EXTI line
  * @retval None
  */
void HAL_GPIO_EXTI_Callback(uint16_t GPIO_Pin)
{
  if (GPIO_Pin == GPIO_PIN_0)
  {
		//printf("HELLO FROM CLBK\r\n");
  }
}

/* USER CODE END 4 */

/************************ (C) COPYRIGHT STMicroelectronics *****END OF FILE****/
